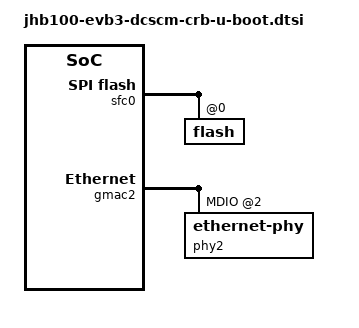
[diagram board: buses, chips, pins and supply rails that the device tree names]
// SPDX-License-Identifier: GPL-2.0 OR MIT
/*
 * Copyright (c) 2021-2022 StarFive Technology Co., Ltd.
 */

#include "jhb100-u-boot.dtsi"

&uart6 {
	status = "disabled";
};

&uart4 {
	bootph-pre-ram;
	bootph-some-ram;
	dlf-size = <6>;
	/delete-property/ clock-frequency;
	/delete-property/ resets;
	/delete-property/ dmas;
};

&sfc0 {
	bootph-pre-ram;
	spi-max-frequency = <5000000>;
	rx-sample-delay-ns = <0>;
	/delete-property/ resets;
	/delete-property/ dmas;

	flash@0 {
		spi-tx-bus-width = <4>;
		spi-rx-bus-width = <4>;
		/delete-node/ partitions;
	};

	/delete-node/ flash@1;
};

&gmac2 {
	bootph-pre-ram;
	assigned-clocks = <&per2crg JHB100_PER2CLK_GMAC2_RX_MUX_DLY>,
			  <&per2crg JHB100_PER2CLK_GMAC2_TX_MUX>,
			  <&per2crg JHB100_PER2CLK_GMAC2_TXCK_MUX_DLY>;
	assigned-clock-parents = <&per2crg JHB100_PER2CLK_GMAC2_RGMII_125_MUX>,
				 <&per2crg JHB100_PER2CLK_GMAC2_RGMII_DIV>,
				 <&per2crg JHB100_PER2CLK_GMAC2_TX_MUX>;
	mdio {
		bootph-pre-ram;
		phy2: ethernet-phy@2 {
			bootph-pre-ram;
		};
	};
};
